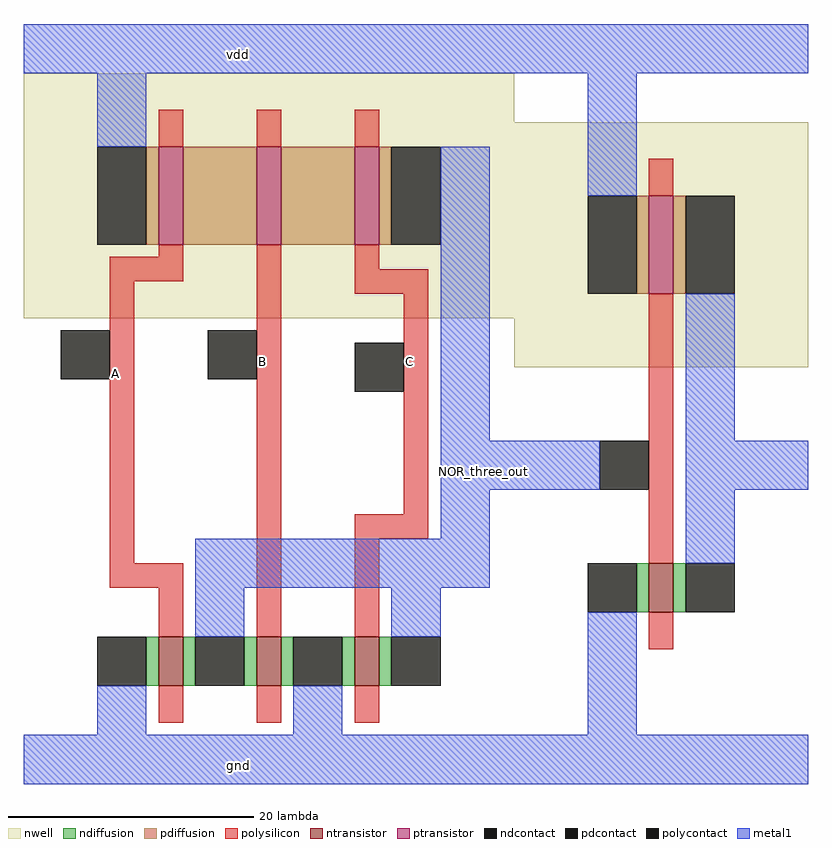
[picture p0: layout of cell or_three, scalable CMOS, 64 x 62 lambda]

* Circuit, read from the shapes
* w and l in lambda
.subckt or_three A B C NOR_three_out gnd vdd
M1 NOR_three_out A gnd VSUBS nfet w=4 l=2
M2 gnd B NOR_three_out VSUBS nfet w=4 l=2
M3 NOR_three_out C gnd VSUBS nfet w=4 l=2
M4 inverter_0/Inv_out NOR_three_out gnd VSUBS nfet w=4 l=2
M5 n1 A vdd n2 pfet w=8 l=2
M6 n3 B n1 n2 pfet w=8 l=2
M7 NOR_three_out C n3 n2 pfet w=8 l=2
M8 inverter_0/Inv_out NOR_three_out vdd n2 pfet w=8 l=2
.ends

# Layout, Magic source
magic
tech scmos
<< nwell >>
rect 95 38 135 58
<< ntransistor >>
rect 106 8 108 12
rect 114 8 116 12
rect 122 8 124 12
<< ptransistor >>
rect 106 44 108 52
rect 114 44 116 52
rect 122 44 124 52
<< ndiffusion >>
rect 105 8 106 12
rect 108 8 109 12
rect 113 8 114 12
rect 116 8 117 12
rect 121 8 122 12
rect 124 8 125 12
<< pdiffusion >>
rect 105 44 106 52
rect 108 44 114 52
rect 116 44 122 52
rect 124 44 125 52
<< ndcontact >>
rect 101 8 105 12
rect 109 8 113 12
rect 117 8 121 12
rect 125 8 129 12
<< pdcontact >>
rect 101 44 105 52
rect 125 44 129 52
<< polysilicon >>
rect 106 52 108 55
rect 114 52 116 55
rect 122 52 124 55
rect 106 43 108 44
rect 102 41 108 43
rect 102 18 104 41
rect 102 16 108 18
rect 106 12 108 16
rect 114 12 116 44
rect 122 42 124 44
rect 122 40 128 42
rect 126 22 128 40
rect 122 20 128 22
rect 122 12 124 20
rect 106 5 108 8
rect 114 5 116 8
rect 122 5 124 8
<< polycontact >>
rect 98 33 102 37
rect 110 33 114 37
rect 122 32 126 36
<< metal1 >>
rect 95 58 135 62
rect 101 52 105 58
rect 129 28 133 52
rect 129 24 135 28
rect 129 20 133 24
rect 109 16 133 20
rect 109 12 113 16
rect 125 12 129 16
rect 101 4 105 8
rect 117 4 121 8
rect 95 0 135 4
use inverter  inverter_0
transform 1 0 135 0 1 34
box 0 -34 24 28
<< labels >>
rlabel metal1 112 59 113 60 5 vdd
rlabel metal1 112 1 113 2 1 gnd
rlabel metal1 132 25 133 26 7 NOR_three_out
rlabel polysilicon 102 33 103 34 1 A
rlabel polysilicon 114 34 115 35 1 B
rlabel polysilicon 126 34 127 35 1 C
<< end >>

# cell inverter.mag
magic
tech scmos
<< nwell >>
rect 0 0 24 20
<< ntransistor >>
rect 11 -20 13 -16
<< ptransistor >>
rect 11 6 13 14
<< ndiffusion >>
rect 10 -20 11 -16
rect 13 -20 14 -16
<< pdiffusion >>
rect 10 6 11 14
rect 13 6 14 14
<< ndcontact >>
rect 6 -20 10 -16
rect 14 -20 18 -16
<< pdcontact >>
rect 6 6 10 14
rect 14 6 18 14
<< polysilicon >>
rect 11 14 13 17
rect 11 -16 13 6
rect 11 -23 13 -20
<< polycontact >>
rect 7 -10 11 -6
<< metal1 >>
rect 0 24 24 28
rect 6 14 10 24
rect 14 -6 18 6
rect 0 -10 7 -6
rect 14 -10 24 -6
rect 14 -16 18 -10
rect 6 -30 10 -20
rect 0 -34 24 -30
<< labels >>
rlabel metal1 3 -9 4 -8 3 INP
rlabel metal1 14 -31 15 -30 1 gnd
rlabel metal1 13 25 14 26 5 vdd
rlabel metal1 17 -9 18 -8 1 Inv_out
<< end >>
